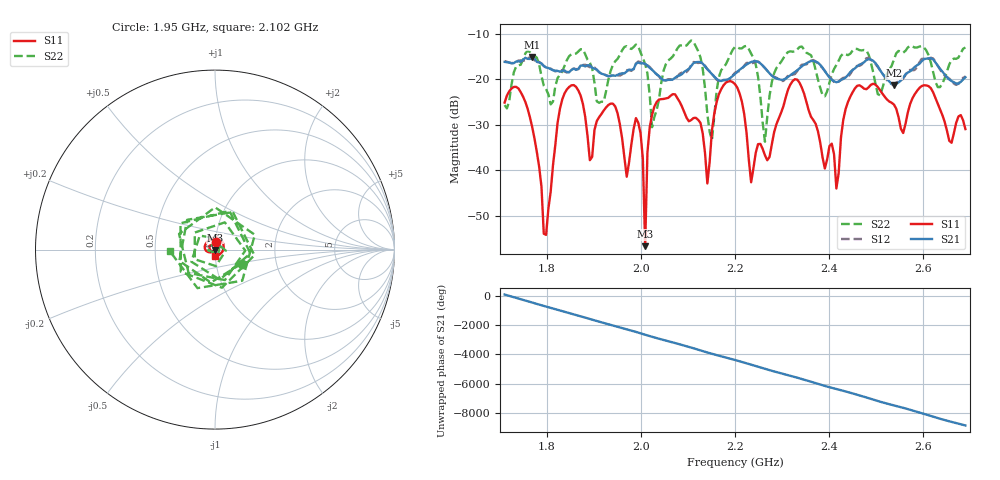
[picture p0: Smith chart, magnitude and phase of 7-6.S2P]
!Agilent Technologies,E5061B,MY49305579,A.02.22
!Date: Thu Aug 24 16:25:40 2017
!Data & Calibration Information:
!Freq	S11:SOLT2(ON)	S21:SOLT2(ON)	S12:SOLT2(ON)	S22:SOLT2(ON)
# Hz S dB R 50
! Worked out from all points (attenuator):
!   201 points, 1.71 GHz to 2.69 GHz, reference 50 ohm
!   highest |S21| = -15.09 dB at 1.769 GHz (marker M1); lowest = -21.3 dB at 2.538 GHz (marker M2)
!   lowest |S11| = -56.6 dB at 2.009 GHz (marker M3), VSWR 1.00, Z = 50 - j0.146 ohm
!   |S11| at or under -10 dB: start of sweep to end of sweep
!   |S22| runs from -33.7 to -11.4 dB; largest |S21 - S12| = 0.012
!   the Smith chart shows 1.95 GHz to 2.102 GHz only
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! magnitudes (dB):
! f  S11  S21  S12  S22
! 1.71 GHz  -25.1  -16.2  -16.0  -25.7
! 1.769 GHz  -30.5  -15.1  -15.4  -14.6
! 1.798 GHz  -54.2  -17.4  -17.4  -22.1
! 1.833 GHz  -24.4  -18.2  -18.0  -18.3
! 1.877 GHz  -25.4  -16.9  -16.8  -13.4
! 1.911 GHz  -28.3  -18.4  -18.4  -25.2
! 1.97 GHz  -41.4  -18.2  -18.0  -12.7
! 1.994 GHz  -29.5  -16.3  -16.1  -12.8
! 2.009 GHz  -56.6  -16.6  -16.8  -16.6
! 2.019 GHz  -30.5  -17.5  -17.3  -23.6
! 2.038 GHz  -24.4  -19.3  -19.4  -24.4
! 2.107 GHz  -28.9  -17.1  -16.8  -11.4
! 2.141 GHz  -42.9  -17.8  -17.7  -27.6
! 2.2 GHz  -21.0  -18.8  -18.5  -12.9
! 2.234 GHz  -42.6  -16.2  -16.5  -14.3
! 2.264 GHz  -36.7  -17.5  -17.5  -33.7
! 2.367 GHz  -28.9  -16.0  -15.7  -15.9
! 2.416 GHz  -44.0  -20.6  -20.7  -16.8
! 2.455 GHz  -22.0  -17.6  -17.3  -13.3
! 2.528 GHz  -24.9  -20.5  -20.7  -17.8
! 2.538 GHz  -25.5  -21.3  -21.0  -15.7
! 2.69 GHz  -30.9  -19.5  -19.4  -13.0
